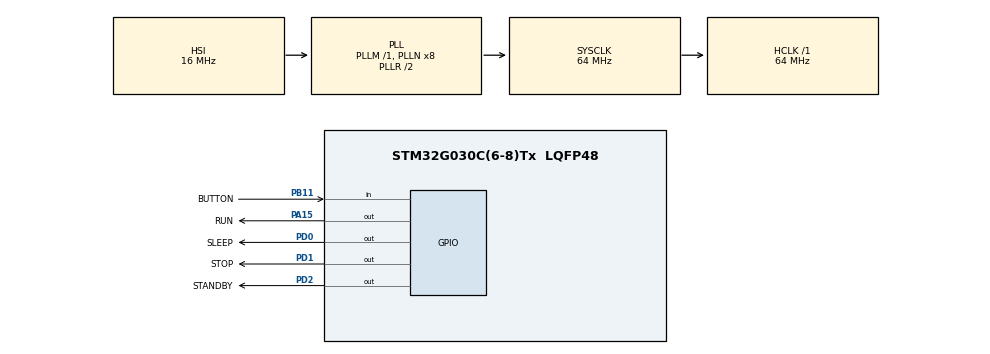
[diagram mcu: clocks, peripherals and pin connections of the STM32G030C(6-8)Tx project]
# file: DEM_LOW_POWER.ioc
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Mcu.Family=STM32G0
Mcu.Name=STM32G030C(6-8)Tx
Mcu.Package=LQFP48
NVIC.RTC_TAMP_IRQn=true\:0\:0\:false\:false\:true\:true\:true\:true
PA13.Mode=Serial_Wire
PA13.Signal=SYS_SWDIO
PA14-BOOT0.Mode=Serial_Wire
PA14-BOOT0.Signal=SYS_SWCLK
PA15.GPIO_Label=RUN
PA15.Signal=GPIO_Output
PB11.GPIO_Label=BUTTON
PB11.GPIO_PuPd=GPIO_NOPULL
PB11.Signal=GPIO_Input
PD0.GPIO_Label=SLEEP
PD0.Signal=GPIO_Output
PD1.GPIO_Label=STOP
PD1.Signal=GPIO_Output
PD2.GPIO_Label=STANDBY
PD2.Signal=GPIO_Output
PF0-OSC_IN\ (PF0).Mode=HSE-External-Oscillator
PF0-OSC_IN\ (PF0).Signal=RCC_OSC_IN
PF1-OSC_OUT\ (PF1).Mode=HSE-External-Oscillator
PF1-OSC_OUT\ (PF1).Signal=RCC_OSC_OUT
ProjectManager.HeapSize=0x200
ProjectManager.StackSize=0x400
ProjectManager.TargetToolchain=STM32CubeIDE
RCC.ADCFreq_Value=64000000
RCC.AHBFreq_Value=64000000
RCC.CortexFreq_Value=64000000
RCC.EXTERNAL_CLOCK_VALUE=12288000
RCC.HCLKFreq_Value=64000000
RCC.HSE_VALUE=8000000
RCC.HSI_VALUE=16000000
RCC.SYSCLKFreq_VALUE=64000000
RCC.SYSCLKSource=RCC_SYSCLKSOURCE_PLLCLK
RCC.VCOOutputFreq_Value=128000000
RTC.SynchPrediv=249
VP_RTC_VS_RTC_Activate.Mode=RTC_Enabled
VP_RTC_VS_RTC_WakeUp_intern.Mode=WakeUp
board=custom

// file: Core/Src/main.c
/* USER CODE BEGIN Header */
/**
  ******************************************************************************
  * @file           : main.c
  * @brief          : Main program body
  ******************************************************************************
  * @attention
  *
  * Copyright (c) 2025 STMicroelectronics.
  * All rights reserved.
  *
  * This software is licensed under terms that can be found in the LICENSE file
  * in the root directory of this software component.
  * If no LICENSE file comes with this software, it is provided AS-IS.
  *
  ******************************************************************************
  */
/* USER CODE END Header */
#include "main.h"

/* USER CODE BEGIN Includes */
#include "string.h"
/* USER CODE END Includes */

/* USER CODE BEGIN PTD */
// Flag to indicate wakeup from RTC
volatile uint8_t wakeup_flag = 0;
/* USER CODE END PTD */

RTC_HandleTypeDef hrtc;

void SystemClock_Config(void);
static void MX_GPIO_Init(void);
static void MX_RTC_Init(void);

/* USER CODE BEGIN 0 */
void HAL_RTCEx_WakeUpTimerEventCallback(RTC_HandleTypeDef *hrtc)
{
    wakeup_flag = 1; // Set the flag when RTC wakes up MCU
}
void Set_RTC_Wakeup(uint32_t counter)
{
    if(HAL_RTCEx_SetWakeUpTimer_IT(&hrtc, counter, RTC_WAKEUPCLOCK_RTCCLK_DIV16) != HAL_OK)
    {
        Error_Handler();
    }
}
/**
 * @brief  Check if MCU woke up from Standby and handle post-wakeup actions
 * @note   Clears the Standby flag, disables wakeup pin, deactivates RTC wakeup,
 *         and toggles the green LED for 2 seconds as a visual indication.
 */
void Handle_Standby_Wakeup(void)
{
    // Check if MCU woke up from STANDBY
    if(__HAL_PWR_GET_FLAG(PWR_FLAG_SB) != RESET)
    {
        // Clear the Standby flag to prevent immediate re-entry
        __HAL_PWR_CLEAR_FLAG(PWR_FLAG_SB);

        // Green LED toggle to indicate wakeup from Standby
        for(int i = 0; i < 20; i++)
        {
            HAL_GPIO_TogglePin(GPIOD, GPIO_PIN_2);
            HAL_Delay(100); // 100ms × 20 = 2s
        }

        // Ensure LED is off after toggling
        HAL_GPIO_WritePin(GPIOD, GPIO_PIN_2, GPIO_PIN_RESET);
    }
    else
    {
    	/* Ensure no leftover wakeup/standby flags from previous resets/power-on */
    	__HAL_PWR_CLEAR_FLAG(PWR_FLAG_WUF);
    	__HAL_PWR_CLEAR_FLAG(PWR_FLAG_SB);
    	__HAL_RTC_WAKEUPTIMER_CLEAR_FLAG(&hrtc, RTC_FLAG_WUTF);

    	/* Make sure RTC wakeup timer is deactivated (clean start) */
    	HAL_RTCEx_DeactivateWakeUpTimer(&hrtc);

    	/* Small delay to allow LSI/LSE stabilization (if using LSE/LSI) */
    	HAL_Delay(50);

    }
}

/* USER CODE END 0 */

int main(void)
{

  /* MCU Configuration--------------------------------------------------------*/

  /* Reset of all peripherals, Initializes the Flash interface and the Systick. */
  HAL_Init();

  /* Configure the system clock */
  SystemClock_Config();

  /* Initialize all configured peripherals */
  MX_GPIO_Init();
  MX_RTC_Init();
  /* USER CODE BEGIN 2 */
  // Check if MCU woke up from STANDBY
  Handle_Standby_Wakeup();
  // ---------- RUN MODE ----------
  HAL_GPIO_WritePin(GPIOA, GPIO_PIN_15, GPIO_PIN_SET); // PA15 ON
  /* USER CODE END 2 */

  /* Infinite loop */
  while (1)
  {

    /* USER CODE BEGIN 3 */
	   // --------------------------
	    // Wait for button press to start Sleep
	    // --------------------------
	    if(HAL_GPIO_ReadPin(GPIOB, GPIO_PIN_11) == GPIO_PIN_RESET)
	    {
	        HAL_Delay(50); // simple debounce
	        if(HAL_GPIO_ReadPin(GPIOB, GPIO_PIN_11) == GPIO_PIN_RESET)
	        {
	            // ---------- SLEEP PRE-Toggle ----------
	            HAL_GPIO_WritePin(GPIOA, GPIO_PIN_15, GPIO_PIN_RESET);
	            HAL_Delay(500);

	            for(int i=0;i<20;i++) // 2s toggle PA15
	            {
	                HAL_GPIO_TogglePin(GPIOA, GPIO_PIN_15);
	                HAL_Delay(100);
	            }
	            HAL_GPIO_WritePin(GPIOA, GPIO_PIN_15, GPIO_PIN_RESET);

	            // ---------- SLEEP MODE ----------
	            wakeup_flag = 0;

	            /*
	             Enable RTC Wakeup Timer for Sleep Mode
	             - Desired Sleep duration: 2 seconds
	             - RTC Wakeup Clock Source: LSI (32 kHz)
	             - RTC_WAKEUPCLOCK_RTCCLK_DIV16 divides LSI by 16

	             Calculation:
	             WakeUp Time Base = 16 / 32kHz = 0.0005 sec
	             WakeUpCounter = Sleep Time / Time Base
	             WakeUpCounter = 2s / 0.0005s = 4000 = 0x0FA0
	            */
	            Set_RTC_Wakeup(0x0FA0); // 2s

	            HAL_SuspendTick();
	            HAL_PWR_EnterSLEEPMode(PWR_MAINREGULATOR_ON, PWR_SLEEPENTRY_WFI);
	            HAL_ResumeTick();

	            // ---------- STOP PRE-Toggle ----------
	            for(int i=0;i<20;i++) // 2s toggle PD0
	            {
	                HAL_GPIO_TogglePin(GPIOD, GPIO_PIN_0);
	                HAL_Delay(100);
	            }
	            HAL_GPIO_WritePin(GPIOD, GPIO_PIN_0, GPIO_PIN_RESET);

	            // ---------- STOP MODE ----------
	            wakeup_flag = 0;

	            /*
	             Enable RTC Wakeup Timer for Stop Mode
	             - Desired Stop duration: 5 seconds
	             - WakeUp Time Base = 16 / 32kHz = 0.0005 sec
	             - WakeUpCounter = 5 / 0.0005 = 10000 = 0x2710
	            */
	            Set_RTC_Wakeup(0x2710);             // Set RTC wakeup timer for 5s

	            HAL_SuspendTick();                   // Stop SysTick to prevent unwanted wakeups

	            HAL_PWR_EnterSTOPMode(PWR_LOWPOWERREGULATOR_ON, PWR_STOPENTRY_WFI); // Enter STOP mode (wait for interrupt)

	            SystemClock_Config();                // Reconfigure system clock (STOP mode may change it)

	            HAL_ResumeTick();                    // Resume SysTick after waking up

	            HAL_RTCEx_DeactivateWakeUpTimer(&hrtc); // Stop the RTC wakeup timer

	            // ---------- STANDBY PRE-Toggle ----------
	            for(int i=0;i<20;i++) // 2s toggle PD1
	            {
	             HAL_GPIO_TogglePin(GPIOD, GPIO_PIN_1);
	             HAL_Delay(100);
	            }HAL_GPIO_WritePin(GPIOD, GPIO_PIN_1, GPIO_PIN_RESET);

	            // ---------- STANDBY MODE ----------
	            /*
	             - Clear previous wakeup flags to prevent immediate wakeup
	             - Enable WAKEUP pin (PA0) as a source
	             - RTC Wakeup Timer for 10 seconds

	             Calculation:
	             WakeUp Time Base = 16 / 32kHz = 0.0005 sec
	             WakeUpCounter = 10 / 0.0005 = 20000 = 0x4E20
	            */

	            // Check if MCU woke up from STANDBY

	            /* clear leftover flags just before entering Standby */
	            __HAL_PWR_CLEAR_FLAG(PWR_FLAG_WUF);
	            __HAL_RTC_WAKEUPTIMER_CLEAR_FLAG(&hrtc, RTC_FLAG_WUTF);

	            /* Small settle time for RTC/LSI/LSE to be stable */
	            HAL_Delay(10);

	            /* Set RTC wakeup timer and immediately enter Standby (no prints/delays between) */
	            Set_RTC_Wakeup(0x4E20); // 10s
	            HAL_PWR_EnterSTANDBYMode();

	        }
	    }
  }
  /* USER CODE END 3 */
}

void SystemClock_Config(void)
{
  RCC_OscInitTypeDef RCC_OscInitStruct = {0};
  RCC_ClkInitTypeDef RCC_ClkInitStruct = {0};

  /** Configure the main internal regulator output voltage
  */
  HAL_PWREx_ControlVoltageScaling(PWR_REGULATOR_VOLTAGE_SCALE1);

  /** Initializes the RCC Oscillators according to the specified parameters
  * in the RCC_OscInitTypeDef structure.
  */
  RCC_OscInitStruct.OscillatorType = RCC_OSCILLATORTYPE_HSI|RCC_OSCILLATORTYPE_LSI;
  RCC_OscInitStruct.HSIState = RCC_HSI_ON;
  RCC_OscInitStruct.HSIDiv = RCC_HSI_DIV1;
  RCC_OscInitStruct.HSICalibrationValue = RCC_HSICALIBRATION_DEFAULT;
  RCC_OscInitStruct.LSIState = RCC_LSI_ON;
  RCC_OscInitStruct.PLL.PLLState = RCC_PLL_ON;
  RCC_OscInitStruct.PLL.PLLSource = RCC_PLLSOURCE_HSI;
  RCC_OscInitStruct.PLL.PLLM = RCC_PLLM_DIV1;
  RCC_OscInitStruct.PLL.PLLN = 8;
  RCC_OscInitStruct.PLL.PLLP = RCC_PLLP_DIV2;
  RCC_OscInitStruct.PLL.PLLR = RCC_PLLR_DIV2;
  if (HAL_RCC_OscConfig(&RCC_OscInitStruct) != HAL_OK)
  {
    Error_Handler();
  }

  /** Initializes the CPU, AHB and APB buses clocks
  */
  RCC_ClkInitStruct.ClockType = RCC_CLOCKTYPE_HCLK|RCC_CLOCKTYPE_SYSCLK
                              |RCC_CLOCKTYPE_PCLK1;
  RCC_ClkInitStruct.SYSCLKSource = RCC_SYSCLKSOURCE_PLLCLK;
  RCC_ClkInitStruct.AHBCLKDivider = RCC_SYSCLK_DIV1;
  RCC_ClkInitStruct.APB1CLKDivider = RCC_HCLK_DIV1;

  if (HAL_RCC_ClockConfig(&RCC_ClkInitStruct, FLASH_LATENCY_2) != HAL_OK)
  {
    Error_Handler();
  }
}

static void MX_RTC_Init(void)
{

  /** Initialize RTC Only
  */
  hrtc.Instance = RTC;
  hrtc.Init.HourFormat = RTC_HOURFORMAT_24;
  hrtc.Init.AsynchPrediv = 127;
  hrtc.Init.SynchPrediv = 249;
  hrtc.Init.OutPut = RTC_OUTPUT_DISABLE;
  hrtc.Init.OutPutRemap = RTC_OUTPUT_REMAP_NONE;
  hrtc.Init.OutPutPolarity = RTC_OUTPUT_POLARITY_HIGH;
  hrtc.Init.OutPutType = RTC_OUTPUT_TYPE_OPENDRAIN;
  hrtc.Init.OutPutPullUp = RTC_OUTPUT_PULLUP_NONE;
  if (HAL_RTC_Init(&hrtc) != HAL_OK)
  {
    Error_Handler();
  }

  /** Enable the WakeUp
  */
  if (HAL_RTCEx_SetWakeUpTimer_IT(&hrtc, 0, RTC_WAKEUPCLOCK_RTCCLK_DIV16) != HAL_OK)
  {
    Error_Handler();
  }

}

static void MX_GPIO_Init(void)
{
  GPIO_InitTypeDef GPIO_InitStruct = {0};

  /* GPIO Ports Clock Enable */
  __HAL_RCC_GPIOF_CLK_ENABLE();
  __HAL_RCC_GPIOB_CLK_ENABLE();
  __HAL_RCC_GPIOA_CLK_ENABLE();
  __HAL_RCC_GPIOD_CLK_ENABLE();

  /*Configure GPIO pin Output Level */
  HAL_GPIO_WritePin(RUN_GPIO_Port, RUN_Pin, GPIO_PIN_RESET);

  /*Configure GPIO pin Output Level */
  HAL_GPIO_WritePin(GPIOD, SLEEP_Pin|STOP_Pin|STANDBY_Pin, GPIO_PIN_RESET);

  /*Configure GPIO pin : BUTTON_Pin */
  GPIO_InitStruct.Pin = BUTTON_Pin;
  GPIO_InitStruct.Mode = GPIO_MODE_INPUT;
  GPIO_InitStruct.Pull = GPIO_NOPULL;
  HAL_GPIO_Init(BUTTON_GPIO_Port, &GPIO_InitStruct);

  /*Configure GPIO pin : RUN_Pin */
  GPIO_InitStruct.Pin = RUN_Pin;
  GPIO_InitStruct.Mode = GPIO_MODE_OUTPUT_PP;
  GPIO_InitStruct.Pull = GPIO_NOPULL;
  GPIO_InitStruct.Speed = GPIO_SPEED_FREQ_LOW;
  HAL_GPIO_Init(RUN_GPIO_Port, &GPIO_InitStruct);

  /*Configure GPIO pins : SLEEP_Pin STOP_Pin STANDBY_Pin */
  GPIO_InitStruct.Pin = SLEEP_Pin|STOP_Pin|STANDBY_Pin;
  GPIO_InitStruct.Mode = GPIO_MODE_OUTPUT_PP;
  GPIO_InitStruct.Pull = GPIO_NOPULL;
  GPIO_InitStruct.Speed = GPIO_SPEED_FREQ_LOW;
  HAL_GPIO_Init(GPIOD, &GPIO_InitStruct);

}

void Error_Handler(void)
{
  __disable_irq();
  while (1)
  {
  }
}
